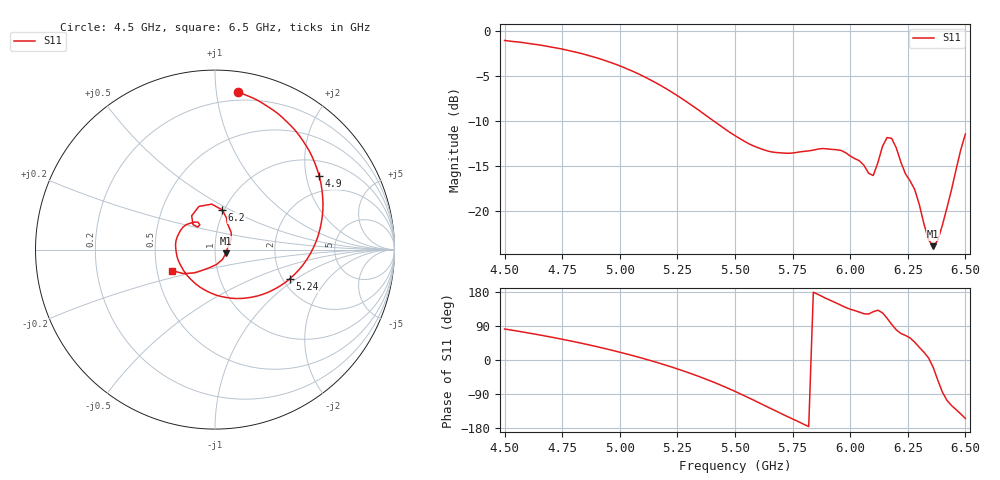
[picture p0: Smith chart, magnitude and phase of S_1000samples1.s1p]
! TOUCHSTONE file generated by CST MICROWAVE STUDIO
! Date and time: Wed Oct 26 15:40:57 2022
! Project name: L.cst
! Parameters = {Di=1.27; Epsilon_r=1.56; InnerDiameter=1.27; Length=2; Lf=10; Lg=60; OuterConductorThickness=0.2921; OuterDiameter=3.6; Wf=3; Wp=41.2; de=1.5; df=6.8; g=0.8; gx=3.70232; gy=3.15364; h=2.34; hf=1.524; px=14.8359; py=8.20041; w=9.7; wx=11.1336; wy=5.04678}
! Header version: 2018
! Port assignment regex: !\s*Touchstone port\s*([0-9]+)\s*=\s*(CST MWS port|CST DS port)\s*([0-9]+|Zmin|Zmax)\s*\(\"(.*)\"\)(\s*mode\s*([0-9]+))?.*
! Touchstone port assignment:
! Touchstone port 1 = CST MWS port 1 ("")
# GHz S DB R 50
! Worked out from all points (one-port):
!   101 points, 4.5 GHz to 6.5 GHz, reference 50 ohm
!   lowest |S11| = -23.9 dB at 6.36 GHz (marker M1), VSWR 1.14, Z = 56.4 - j2.35 ohm
!   |S11| at or under -10 dB: 5.409 GHz to end of sweep
!   S11 on the Smith chart (normalised r, x): 4.5 GHz: 0.14, +1.15; 4.9 GHz: 1.44, +2.38; 5.24 GHz: 2.17, -0.89; 6.2 GHz: 0.98, +0.46; 6.5 GHz: 0.60, -0.15
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4.5  -1.03 81.7
4.64  -1.49 67.4
4.76  -2.05 53.5
4.9  -2.96 35.3
5  -3.85 20.5
5.12  -5.24 0.8
5.24  -7.00 -21.5
5.26  -7.33 -25.6
5.38  -9.47 -52.0
5.5  -11.60 -82.8
5.64  -13.30 -123.6
5.76  -13.50 -158.4
5.88  -13.04 167.1
6  -13.86 134.0
6.1  -16.03 127.4
6.14  -12.81 124.5
6.16  -11.81 110.4
6.18  -11.90 94.1
6.2  -12.97 79.6
6.24  -15.85 64.8
6.26  -16.63 58.2
6.28  -17.59 46.9
6.34  -23.16 5.6
6.36  -23.87 -19.0
6.38  -23.24 -52.8
6.4  -21.55 -84.4
6.46  -15.32 -131.0
6.5  -11.43 -154.2
